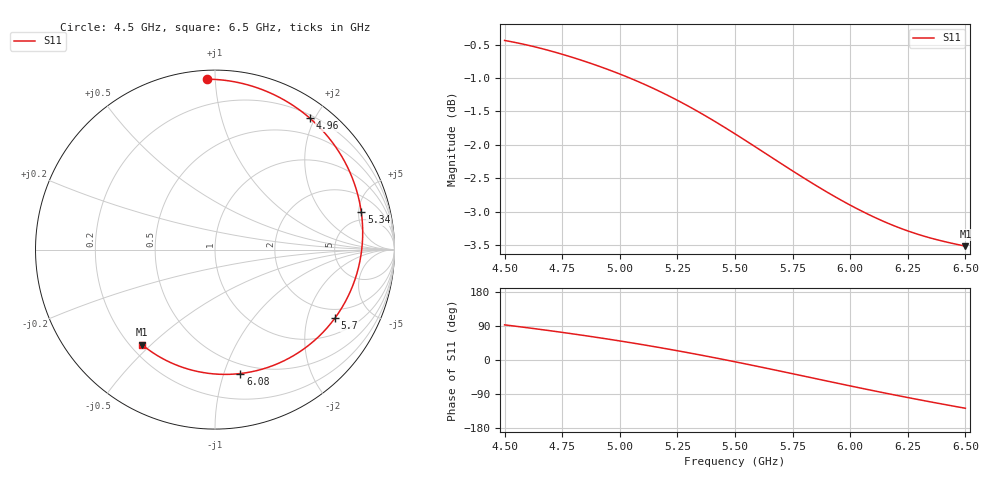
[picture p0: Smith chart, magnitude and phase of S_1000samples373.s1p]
! TOUCHSTONE file generated by CST MICROWAVE STUDIO
! Date and time: Thu Oct 27 22:53:23 2022
! Project name: L.cst
! Parameters = {Di=1.27; Epsilon_r=1.56; InnerDiameter=1.27; Length=2; Lf=10; Lg=60; OuterConductorThickness=0.2921; OuterDiameter=3.6; Wf=3; Wp=41.2; de=1.5; df=6.8; g=0.8; gx=4.1275; gy=3.31231; h=2.34; hf=1.524; px=12.1642; py=11.2505; w=9.7; wx=8.03669; wy=7.93816}
! Header version: 2018
! Port assignment regex: !\s*Touchstone port\s*([0-9]+)\s*=\s*(CST MWS port|CST DS port)\s*([0-9]+|Zmin|Zmax)\s*\(\"(.*)\"\)(\s*mode\s*([0-9]+))?.*
! Touchstone port assignment:
! Touchstone port 1 = CST MWS port 1 ("")
# GHz S DB R 50
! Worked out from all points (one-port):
!   101 points, 4.5 GHz to 6.5 GHz, reference 50 ohm
!   lowest |S11| = -3.5 dB at 6.5 GHz (marker M1), VSWR 5.01, Z = 12.3 - j23.5 ohm
!   |S11| at or under -10 dB: nowhere
!   S11 on the Smith chart (normalised r, x): 4.5 GHz: 0.05, +0.95; 4.96 GHz: 0.24, +1.93; 5.34 GHz: 3.78, +5.37; 5.7 GHz: 1.59, -2.98; 6.08 GHz: 0.41, -1.14; 6.5 GHz: 0.25, -0.47
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4.5  -0.44 92.7
4.58  -0.49 86.6
4.64  -0.54 81.9
4.76  -0.66 72.0
4.86  -0.76 63.3
4.96  -0.89 54.1
5  -0.94 50.3
5.06  -1.02 44.4
5.14  -1.15 36.2
5.2  -1.25 29.9
5.26  -1.35 23.3
5.34  -1.50 14.3
5.42  -1.66 4.9
5.5  -1.83 -4.7
5.54  -1.92 -9.6
5.6  -2.05 -17.1
5.7  -2.28 -29.8
5.76  -2.41 -37.5
5.82  -2.54 -45.3
5.88  -2.66 -53.0
5.94  -2.78 -60.7
6  -2.90 -68.4
6.08  -3.04 -78.4
6.16  -3.16 -88.3
6.26  -3.30 -100.2
6.32  -3.36 -107.2
6.38  -3.42 -114.1
6.5  -3.51 -127.4
